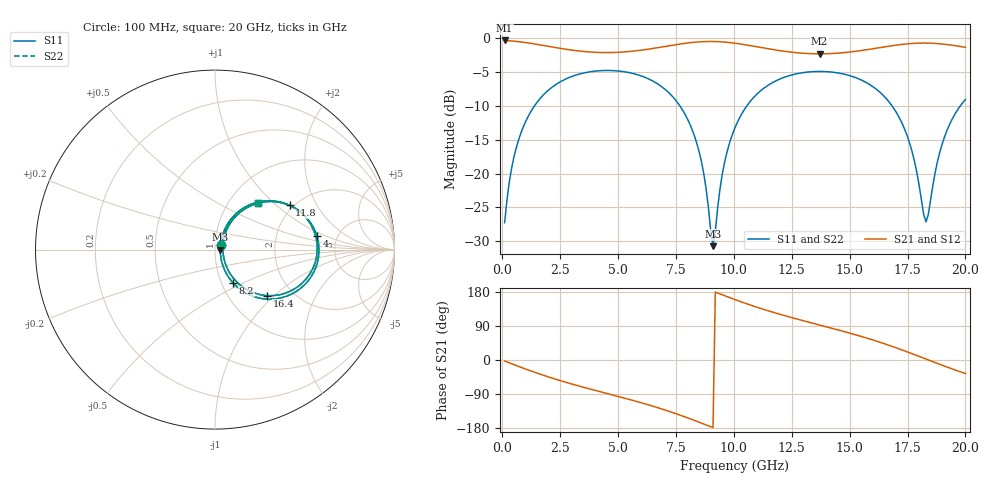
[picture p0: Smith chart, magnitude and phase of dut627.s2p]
! Touchstone file exported from HFSS 2026.1.0
!  File:  C:/ffzhzh/LocalFiles/Ansys_Project_Files/temp_train_TSV_RDL_627_1783125683_50312.aedt
!  Generated:  08:55:55 AM Jul  4, 2026
!  Design:  TSV_RDL
!  Project:  temp_train_TSV_RDL_627_1783125683_50312
! Variables:
!  h_bsmrdl = 4.27um
!  h_ox = 20um
!  h_rdl = 5um
!  h_sub = 82.97um
!  h_tmrdl = 2.48um
!  h_tsv = 82.97um
!  h_via = 3um
!  l_bsmrdl = 830.92um
!  l_sub = 6632.59um
!  l_tmrdl = 904.11um
!  m_sub = 200um
!  pitch = 53.6um
!  r_tsv = 10.2um
!  s_tmrdl = 10um
!  w_bsmrdl = 18.18um
!  w_sub = 500um
!  w_tmrdl = 22.95um
!  x_tsv_center1 = 915.585um
!  x_tsv_center2 = 1764.685um
!  x_tsv_center3 = 2691.745um
!  x_tsv_center4 = 3540.845um
!  x_tsv_center5 = 4467.905um
!  x_tsv_center6 = 5317.005um
# GHz S MA R 50.000000
! Terminal data exported
! Port[1] = TM_RDL1_1_T1
! Port[2] = TM_RDL5_1_T1
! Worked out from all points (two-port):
!   200 points, 100 MHz to 20 GHz, reference 50 ohm
!   highest |S21| = -0.30 dB at 100 MHz (marker M1); lowest = -2.3 dB at 13.7 GHz (marker M2)
!   |S21| within 3 dB of the highest: start of sweep to end of sweep
!   lowest |S11| = -30.7 dB at 9.1 GHz (marker M3), VSWR 1.06, Z = 53 - j0.0559 ohm
!   |S11| at or under -10 dB: start of sweep to 1.388 GHz; 7.672 GHz to 10.56 GHz (2.887 GHz wide, 31.7 % of centre); 16.84 GHz to 19.78 GHz (2.942 GHz wide, 16.1 % of centre)
!   |S22| runs from -30.5 to -4.7 dB; largest |S21 - S12| = 1.5e-14
!   S11 on the Smith chart (normalised r, x): 100 MHz: 1.07, +0.05; 4 GHz: 3.48, +0.79; 8.2 GHz: 1.13, -0.44; 11.8 GHz: 1.91, +1.23; 16.4 GHz: 1.49, -0.90; 20 GHz: 1.35, +0.80
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0.1  0.04326 35.7  0.9656 -2.5  0.9656 -2.5  0.04326 35.7
! Gamma 0 0 0 0
! Port Impedance 50 0 50 0
0.5  0.1319 61.0  0.954 -12.2  0.954 -12.2  0.1318 61.0
1.1  0.2612 55.4  0.9264 -25.9  0.9264 -25.9  0.2612 55.4
2.2  0.4419 36.7  0.8609 -48.7  0.8609 -48.7  0.4419 36.7
3.5  0.5541 15.4  0.8007 -71.8  0.8007 -71.8  0.5541 15.4
4  0.5726 7.7  0.7893 -80.0  0.7893 -80.0  0.5726 7.7
5.4  0.5619 -13.8  0.7975 -102.6  0.7975 -102.6  0.5619 -13.7
6.8  0.45 -37.0  0.8586 -127.5  0.8586 -127.5  0.45 -36.9
8.2  0.2112 -61.6  0.9331 -157.2  0.9331 -157.2  0.2112 -61.4
8.7  0.1001 -64.0  0.9469 -168.9  0.9469 -168.9  0.1002 -63.6
9.1  0.02905 -1.0  0.9488 -178.4  0.9488 -178.4  0.0298 -0.9
9.5  0.0988 63.5  0.9422 172.1  0.9422 172.1  0.09909 63.1
10.1  0.2289 59.9  0.9185 158.3  0.9185 158.3  0.2291 59.8
11.8  0.4839 30.7  0.8203 124.0  0.8203 124.0  0.484 30.6
13.4  0.5676 5.7  0.7706 97.1  0.7706 97.1  0.5676 5.7
13.7  0.5696 1.2  0.7692 92.3  0.7692 92.3  0.5697 1.2
16.4  0.3867 -41.5  0.8597 45.0  0.8597 45.0  0.3868 -41.5
16.7  0.3396 -46.5  0.8759 38.8  0.8759 38.8  0.3396 -46.5
17.6  0.1663 -57.8  0.9148 18.9  0.9148 18.9  0.1662 -57.8
18.3  0.04398 1.5  0.9237 2.5  0.9237 2.5  0.04369 1.5
19  0.1661 60.0  0.9088 -13.9  0.9088 -13.9  0.166 60.2
20  0.3529 47.3  0.8589 -35.7  0.8589 -35.7  0.3529 47.5
